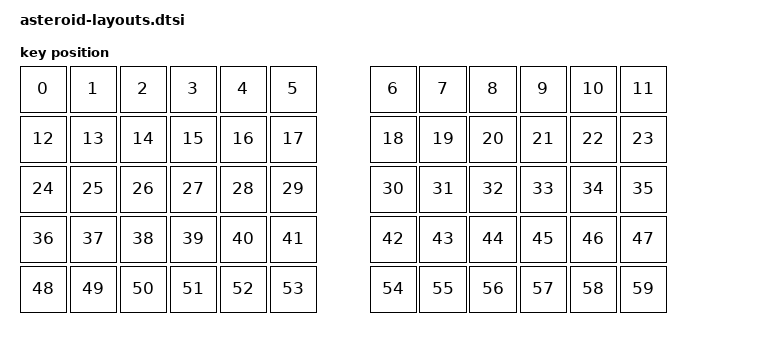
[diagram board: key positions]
#include <physical_layouts.dtsi>

/ {
    asteroid_layout: asteroid_layout {
        compatible = "zmk,physical-layout";
        display-name = "Asteroid";

        keys  //                     w   h    x    y     rot    rx    ry
            // Left side - Row 1 (numbers)
            = <&key_physical_attrs 100 100    0    0       0     0     0>  // Empty
            , <&key_physical_attrs 100 100  100    0       0     0     0>  // 1
            , <&key_physical_attrs 100 100  200    0       0     0     0>  // 2
            , <&key_physical_attrs 100 100  300    0       0     0     0>  // 3
            , <&key_physical_attrs 100 100  400    0       0     0     0>  // 4
            , <&key_physical_attrs 100 100  500    0       0     0     0>  // 5

            // Right side - Row 1 (numbers)
            , <&key_physical_attrs 100 100  700    0       0     0     0>  // 6
            , <&key_physical_attrs 100 100  800    0       0     0     0>  // 7
            , <&key_physical_attrs 100 100  900    0       0     0     0>  // 8
            , <&key_physical_attrs 100 100 1000    0       0     0     0>  // 9
            , <&key_physical_attrs 100 100 1100    0       0     0     0>  // 0
            , <&key_physical_attrs 100 100 1200    0       0     0     0>  // Empty

            // Left side - Row 2 (QWERTY top)
            , <&key_physical_attrs 100 100    0  100       0     0     0>  // TAB
            , <&key_physical_attrs 100 100  100  100       0     0     0>  // Q
            , <&key_physical_attrs 100 100  200  100       0     0     0>  // W
            , <&key_physical_attrs 100 100  300  100       0     0     0>  // E
            , <&key_physical_attrs 100 100  400  100       0     0     0>  // R
            , <&key_physical_attrs 100 100  500  100       0     0     0>  // T

            // Right side - Row 2 (QWERTY top)
            , <&key_physical_attrs 100 100  700  100       0     0     0>  // Y
            , <&key_physical_attrs 100 100  800  100       0     0     0>  // U
            , <&key_physical_attrs 100 100  900  100       0     0     0>  // I
            , <&key_physical_attrs 100 100 1000  100       0     0     0>  // O
            , <&key_physical_attrs 100 100 1100  100       0     0     0>  // P
            , <&key_physical_attrs 100 100 1200  100       0     0     0>  // BKSP

            // Left side - Row 3 (ASDF row)
            , <&key_physical_attrs 100 100    0  200       0     0     0>  // CAPS
            , <&key_physical_attrs 100 100  100  200       0     0     0>  // A
            , <&key_physical_attrs 100 100  200  200       0     0     0>  // S
            , <&key_physical_attrs 100 100  300  200       0     0     0>  // D
            , <&key_physical_attrs 100 100  400  200       0     0     0>  // F
            , <&key_physical_attrs 100 100  500  200       0     0     0>  // G

            // Right side - Row 3 (HJKL row)
            , <&key_physical_attrs 100 100  700  200       0     0     0>  // H
            , <&key_physical_attrs 100 100  800  200       0     0     0>  // J
            , <&key_physical_attrs 100 100  900  200       0     0     0>  // K
            , <&key_physical_attrs 100 100 1000  200       0     0     0>  // L
            , <&key_physical_attrs 100 100 1100  200       0     0     0>  // ;
            , <&key_physical_attrs 100 100 1200  200       0     0     0>  // \

            // Left side - Row 4 (ZXCV row)
            , <&key_physical_attrs 100 100    0  300       0     0     0>  // LSHIFT
            , <&key_physical_attrs 100 100  100  300       0     0     0>  // Z
            , <&key_physical_attrs 100 100  200  300       0     0     0>  // X
            , <&key_physical_attrs 100 100  300  300       0     0     0>  // C
            , <&key_physical_attrs 100 100  400  300       0     0     0>  // V
            , <&key_physical_attrs 100 100  500  300       0     0     0>  // B

            // Right side - Row 4 (NM row)
            , <&key_physical_attrs 100 100  700  300       0     0     0>  // N
            , <&key_physical_attrs 100 100  800  300       0     0     0>  // M
            , <&key_physical_attrs 100 100  900  300       0     0     0>  // ,
            , <&key_physical_attrs 100 100 1000  300       0     0     0>  // .
            , <&key_physical_attrs 100 100 1100  300       0     0     0>  // /
            , <&key_physical_attrs 100 100 1200  300       0     0     0>  // RSHIFT

            // Left side - Row 5 (bottom modifiers)
            , <&key_physical_attrs 100 100    0  400       0     0     0>  // Empty
            , <&key_physical_attrs 100 100  100  400       0     0     0>  // Empty
            , <&key_physical_attrs 100 100  200  400       0     0     0>  // ALT
            , <&key_physical_attrs 100 100  300  400       0     0     0>  // CTRL
            , <&key_physical_attrs 100 100  400  400       0     0     0>  // FN
            , <&key_physical_attrs 100 100  500  400       0     0     0>  // CMD

            // Right side - Row 5 (arrows)
            , <&key_physical_attrs 100 100  700  400       0     0     0>  // LEFT
            , <&key_physical_attrs 100 100  800  400       0     0     0>  // DOWN
            , <&key_physical_attrs 100 100  900  400       0     0     0>  // UP
            , <&key_physical_attrs 100 100 1000  400       0     0     0>  // RIGHT
            , <&key_physical_attrs 100 100 1100  400       0     0     0>  // Empty
            , <&key_physical_attrs 100 100 1200  400       0     0     0>  // Empty

            // Row 6 removed - not physically present on this keyboard build
            ;
    };
};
